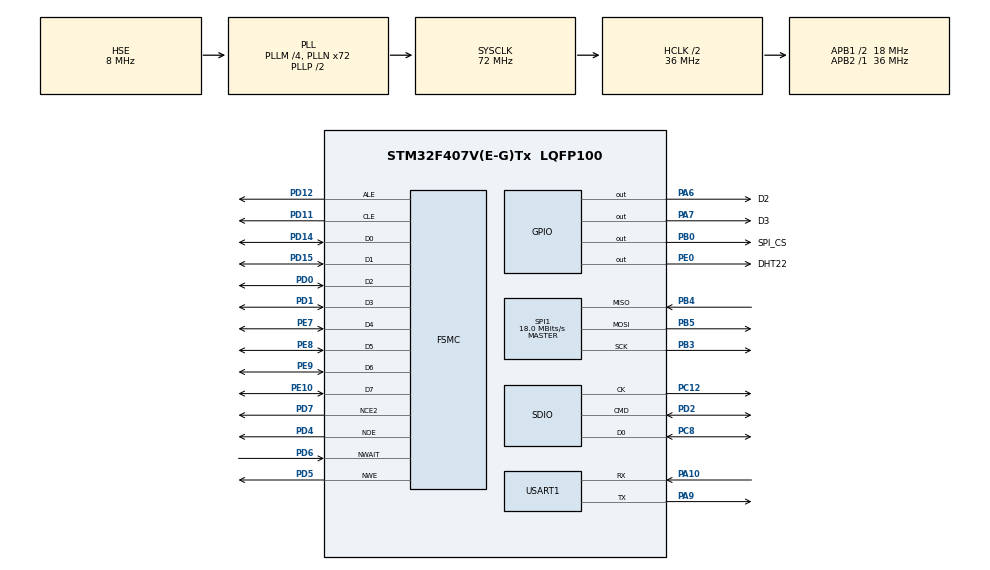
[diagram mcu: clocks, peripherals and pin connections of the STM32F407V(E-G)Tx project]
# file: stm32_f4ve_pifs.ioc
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Dma.Request0=SPI1_RX
Dma.Request1=SPI1_TX
Dma.SPI1_RX.0.Direction=DMA_PERIPH_TO_MEMORY
Dma.SPI1_RX.0.FIFOMode=DMA_FIFOMODE_DISABLE
Dma.SPI1_RX.0.Instance=DMA2_Stream0
Dma.SPI1_RX.0.MemDataAlignment=DMA_MDATAALIGN_BYTE
Dma.SPI1_RX.0.MemInc=DMA_MINC_ENABLE
Dma.SPI1_RX.0.Mode=DMA_NORMAL
Dma.SPI1_RX.0.PeriphDataAlignment=DMA_PDATAALIGN_BYTE
Dma.SPI1_RX.0.PeriphInc=DMA_PINC_DISABLE
Dma.SPI1_RX.0.Priority=DMA_PRIORITY_LOW
Dma.SPI1_TX.1.Direction=DMA_MEMORY_TO_PERIPH
Dma.SPI1_TX.1.FIFOMode=DMA_FIFOMODE_DISABLE
Dma.SPI1_TX.1.Instance=DMA2_Stream3
Dma.SPI1_TX.1.MemDataAlignment=DMA_MDATAALIGN_BYTE
Dma.SPI1_TX.1.MemInc=DMA_MINC_ENABLE
Dma.SPI1_TX.1.Mode=DMA_NORMAL
Dma.SPI1_TX.1.PeriphDataAlignment=DMA_PDATAALIGN_BYTE
Dma.SPI1_TX.1.PeriphInc=DMA_PINC_DISABLE
Dma.SPI1_TX.1.Priority=DMA_PRIORITY_LOW
FATFS._FS_RPATH=2
FATFS._LFN_UNICODE=0
FATFS._STRF_ENCODE=0
FATFS._USE_FIND=1
FATFS._USE_LFN=0
FREERTOS.HEAP_NUMBER=3
FREERTOS.Tasks01=defaultTask,0,512,StartDefaultTask,Default,NULL,Dynamic,NULL,NULL
FREERTOS.configCHECK_FOR_STACK_OVERFLOW=2
FREERTOS.configUSE_MALLOC_FAILED_HOOK=1
FREERTOS.configUSE_STATS_FORMATTING_FUNCTIONS=1
FREERTOS.configUSE_TRACE_FACILITY=1
FSMC.AttributeSpaceHiZSetupTime1=9
FSMC.AttributeSpaceHoldSetupTime1=10
FSMC.AttributeSpaceSetupTime1=9
FSMC.AttributeSpaceWaitSetupTime1=9
FSMC.CommonSpaceHiZSetupTime1=9
FSMC.CommonSpaceHoldSetupTime1=10
FSMC.CommonSpaceSetupTime1=9
FSMC.CommonSpaceWaitSetupTime1=9
FSMC.ECCPageSize1=FSMC_NAND_ECC_PAGE_SIZE_512BYTE
FSMC.NandBlockNbr1=2048
FSMC.NandBlockSize1=32
FSMC.NandExtraCommandEnable1=ENABLE
FSMC.NandPageSize1=512
FSMC.NandPlaneNbr1=1
FSMC.NandPlaneSize1=2048
FSMC.NandSpareAreaSize1=16
FSMC.TARSetupTime1=1
FSMC.TCLRSetupTime1=1
IWDG.Prescaler=IWDG_PRESCALER_32
IWDG.Reload=800
Mcu.Family=STM32F4
Mcu.Name=STM32F407V(E-G)Tx
Mcu.Package=LQFP100
NVIC.DMA2_Stream0_IRQn=true\:5\:0\:false\:false\:true\:true\:true
NVIC.DMA2_Stream3_IRQn=true\:5\:0\:false\:false\:true\:true\:true
NVIC.PriorityGroup=NVIC_PRIORITYGROUP_4
NVIC.TIM2_IRQn=true\:0\:0\:false\:false\:true\:false\:true
NVIC.TimeBase=TIM2_IRQn
NVIC.TimeBaseIP=TIM2
PA10.Mode=Asynchronous
PA10.Signal=USART1_RX
PA11.Signal=USB_OTG_FS_DM
PA12.Signal=USB_OTG_FS_DP
PA13.Mode=Serial_Wire
PA13.Signal=SYS_JTMS-SWDIO
PA14.Mode=Serial_Wire
PA14.Signal=SYS_JTCK-SWCLK
PA6.GPIO_Label=D2
PA6.PinState=GPIO_PIN_SET
PA6.Signal=GPIO_Output
PA7.GPIO_Label=D3
PA7.PinState=GPIO_PIN_SET
PA7.Signal=GPIO_Output
PA9.Mode=Asynchronous
PA9.Signal=USART1_TX
PB0.GPIO_Label=SPI_CS
PB0.Signal=GPIO_Output
PB3.Mode=Full_Duplex_Master
PB3.Signal=SPI1_SCK
PB4.Mode=Full_Duplex_Master
PB4.Signal=SPI1_MISO
PB5.Mode=Full_Duplex_Master
PB5.Signal=SPI1_MOSI
PC10.Signal=SDIO_D2
PC11.Signal=SDIO_D3
PC12.Mode=SD_1_bit
PC12.Signal=SDIO_CK
PC14-OSC32_IN.Mode=LSE-External-Oscillator
PC14-OSC32_IN.Signal=RCC_OSC32_IN
PC15-OSC32_OUT.Mode=LSE-External-Oscillator
PC15-OSC32_OUT.Signal=RCC_OSC32_OUT
PC8.Mode=SD_1_bit
PC8.Signal=SDIO_D0
PC9.Signal=SDIO_D1
PD0.Mode=8b-dmux1
PD0.Signal=FSMC_D2
PD1.Mode=8b-dmux1
PD1.Signal=FSMC_D3
PD11.Mode=8b-dmux1
PD11.Signal=FSMC_CLE
PD12.Mode=8b-dmux1
PD12.Signal=FSMC_ALE
PD14.Mode=8b-dmux1
PD14.Signal=FSMC_D0
PD15.Mode=8b-dmux1
PD15.Signal=FSMC_D1
PD2.Mode=SD_1_bit
PD2.Signal=SDIO_CMD
PD4.Mode=8b-dmux1
PD4.Signal=FSMC_NOE
PD5.Mode=8b-dmux1
PD5.Signal=FSMC_NWE
PD6.GPIO_PuPd=GPIO_PULLUP
PD6.Mode=Wait1
PD6.Signal=FSMC_NWAIT
PD7.Mode=NandChipSelect2_1
PD7.Signal=FSMC_NCE2
PE0.GPIO_Label=DHT22
PE0.GPIO_PuPd=GPIO_PULLUP
PE0.Signal=GPIO_Output
PE10.Mode=8b-dmux1
PE10.Signal=FSMC_D7
PE7.Mode=8b-dmux1
PE7.Signal=FSMC_D4
PE8.Mode=8b-dmux1
PE8.Signal=FSMC_D5
PE9.Mode=8b-dmux1
PE9.Signal=FSMC_D6
PH0-OSC_IN.Mode=HSE-External-Oscillator
PH0-OSC_IN.Signal=RCC_OSC_IN
PH1-OSC_OUT.Mode=HSE-External-Oscillator
PH1-OSC_OUT.Signal=RCC_OSC_OUT
ProjectManager.HeapSize=0x200
ProjectManager.StackSize=0x400
ProjectManager.TargetToolchain=SW4STM32
RCC.48MHZClocksFreq_Value=48000000
RCC.AHBCLKDivider=RCC_SYSCLK_DIV2
RCC.AHBFreq_Value=36000000
RCC.APB1CLKDivider=RCC_HCLK_DIV2
RCC.APB1Freq_Value=18000000
RCC.APB1TimFreq_Value=36000000
RCC.APB2Freq_Value=36000000
RCC.APB2TimFreq_Value=36000000
RCC.CortexFreq_Value=36000000
RCC.HCLKFreq_Value=36000000
RCC.HSE_VALUE=8000000
RCC.HSI_VALUE=16000000
RCC.PLLM=4
RCC.PLLN=72
RCC.PLLQ=3
RCC.PLLSourceVirtual=RCC_PLLSOURCE_HSE
RCC.RCC_RTC_Clock_Source=RCC_RTCCLKSOURCE_LSE
RCC.RCC_RTC_Clock_SourceVirtual=RCC_RTCCLKSOURCE_LSE
RCC.SYSCLKFreq_VALUE=72000000
RCC.SYSCLKSource=RCC_SYSCLKSOURCE_PLLCLK
RCC.VCOOutputFreq_Value=144000000
SDIO.ClockDiv=2
SPI1.BaudRatePrescaler=SPI_BAUDRATEPRESCALER_2
SPI1.CalculateBaudRate=18.0 MBits/s
SPI1.Direction=SPI_DIRECTION_2LINES
SPI1.Mode=SPI_MODE_MASTER
SPI1.VirtualType=VM_MASTER
USART1.VirtualMode=VM_ASYNC
VP_CRC_VS_CRC.Mode=CRC_Activate
VP_FATFS_VS_SDIO.Mode=SDIO
VP_FREERTOS_VS_ENABLE.Mode=Enabled
VP_IWDG_VS_IWDG.Mode=IWDG_Activate
VP_RTC_VS_RTC_Activate.Mode=RTC_Enabled
VP_RTC_VS_RTC_Calendar.Mode=RTC_Calendar
VP_SYS_VS_tim2.Mode=TIM2
board=stm32_f4ve_pifs

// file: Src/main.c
/**
  ******************************************************************************
  * @file           : main.c
  * @brief          : Main program body
  ******************************************************************************
  * This notice applies to any and all portions of this file
  * that are not between comment pairs USER CODE BEGIN and
  * USER CODE END. Other portions of this file, whether
  * inserted by the user or by software development tools
  * are owned by their respective copyright owners.
  *
  * Copyright (c) 2018 STMicroelectronics International N.V.
  * All rights reserved.
  *
  * Redistribution and use in source and binary forms, with or without
  * modification, are permitted, provided that the following conditions are met:
  *
  * 1. Redistribution of source code must retain the above copyright notice,
  *    this list of conditions and the following disclaimer.
  * 2. Redistributions in binary form must reproduce the above copyright notice,
  *    this list of conditions and the following disclaimer in the documentation
  *    and/or other materials provided with the distribution.
  * 3. Neither the name of STMicroelectronics nor the names of other
  *    contributors to this software may be used to endorse or promote products
  *    derived from this software without specific written permission.
  * 4. This software, including modifications and/or derivative works of this
  *    software, must execute solely and exclusively on microcontroller or
  *    microprocessor devices manufactured by or for STMicroelectronics.
  * 5. Redistribution and use of this software other than as permitted under
  *    this license is void and will automatically terminate your rights under
  *    this license.
  *
  * THIS SOFTWARE IS PROVIDED BY STMICROELECTRONICS AND CONTRIBUTORS "AS IS"
  * AND ANY EXPRESS, IMPLIED OR STATUTORY WARRANTIES, INCLUDING, BUT NOT
  * LIMITED TO, THE IMPLIED WARRANTIES OF MERCHANTABILITY, FITNESS FOR A
  * PARTICULAR PURPOSE AND NON-INFRINGEMENT OF THIRD PARTY INTELLECTUAL PROPERTY
  * RIGHTS ARE DISCLAIMED TO THE FULLEST EXTENT PERMITTED BY LAW. IN NO EVENT
  * SHALL STMICROELECTRONICS OR CONTRIBUTORS BE LIABLE FOR ANY DIRECT, INDIRECT,
  * INCIDENTAL, SPECIAL, EXEMPLARY, OR CONSEQUENTIAL DAMAGES (INCLUDING, BUT NOT
  * LIMITED TO, PROCUREMENT OF SUBSTITUTE GOODS OR SERVICES; LOSS OF USE, DATA,
  * OR PROFITS; OR BUSINESS INTERRUPTION) HOWEVER CAUSED AND ON ANY THEORY OF
  * LIABILITY, WHETHER IN CONTRACT, STRICT LIABILITY, OR TORT (INCLUDING
  * NEGLIGENCE OR OTHERWISE) ARISING IN ANY WAY OUT OF THE USE OF THIS SOFTWARE,
  * EVEN IF ADVISED OF THE POSSIBILITY OF SUCH DAMAGE.
  *
  ******************************************************************************
  */
#include "main.h"
#include "stm32f4xx_hal.h"
#include "cmsis_os.h"
#include "fatfs.h"

/* USER CODE BEGIN Includes */
#include <stdio.h>
#include <string.h>
#include <stdarg.h>
#include <math.h>
#include "common.h"
#include "uart.h"
#include "term.h"
#include "dht.h"
#include "buffer.h"

#define DISABLE_WATCHDOG_MAGIC  0xDEADBEEF
#define ENABLE_TERMINAL         1
#define ENABLE_FLASH_TEST       0
#define ENABLE_PIFS_TEST        0
#define ENABLE_ERASE_ALL        0
/* USER CODE END Includes */

CRC_HandleTypeDef hcrc;

IWDG_HandleTypeDef hiwdg;

RTC_HandleTypeDef hrtc;

SD_HandleTypeDef hsd;

SPI_HandleTypeDef hspi1;
DMA_HandleTypeDef hdma_spi1_rx;
DMA_HandleTypeDef hdma_spi1_tx;

UART_HandleTypeDef huart1;

NAND_HandleTypeDef hnand1;

osThreadId defaultTaskHandle;

/* USER CODE BEGIN PV */
/* Private variables ---------------------------------------------------------*/

osThreadId watchdogTaskHandle;
osThreadId measureTaskHandle;
osMutexDef(printf_mutex);
osMutexId printf_mutex = NULL;
osMutexDef(stdin_mutex);
osMutexId stdin_mutex = NULL;
uint32_t disableWatchdog = 0;
FATFS sd_fat_fs;
char disk_path[4];
DIR dir;
FILINFO filinfo;

extern void defaultTask(void const * argument);
/* USER CODE END PV */

void SystemClock_Config(void);
static void MX_GPIO_Init(void);
static void MX_DMA_Init(void);
static void MX_SPI1_Init(void);
static void MX_USART1_UART_Init(void);
static void MX_IWDG_Init(void);
static void MX_SDIO_SD_Init(void);
static void MX_RTC_Init(void);
static void MX_FSMC_Init(void);
static void MX_CRC_Init(void);
void StartDefaultTask(void const * argument);

/* USER CODE BEGIN PFP */
/* Private function prototypes -----------------------------------------------*/

void watchdogTask(void const * arg);
void measureTask(void const * arg);
/* USER CODE END PFP */

/* USER CODE BEGIN 0 */
static inline void LED_on(int number)
{
    if (number == 2)
    {
        HAL_GPIO_WritePin(D2_GPIO_Port, D2_Pin, GPIO_PIN_RESET);
    }
    else if (number == 3)
    {
        HAL_GPIO_WritePin(D3_GPIO_Port, D3_Pin, GPIO_PIN_RESET);
    }
}

static inline void LED_off(int number)
{
    if (number == 2)
    {
        HAL_GPIO_WritePin(D2_GPIO_Port, D2_Pin, GPIO_PIN_SET);
    }
    else if (number == 3)
    {
        HAL_GPIO_WritePin(D3_GPIO_Port, D3_Pin, GPIO_PIN_SET);
    }
}

static inline void LED_toggle(int number)
{
    if (number == 2)
    {
        HAL_GPIO_TogglePin(D2_GPIO_Port, D2_Pin);
    }
    else if (number == 3)
    {
        HAL_GPIO_TogglePin(D3_GPIO_Port, D3_Pin);
    }
}

uint8_t nand_buf[512];
uint8_t nand_buf2[512];

/**
 * @brief ftest Testing NAND flash wired to TFT connector.
 */
void ftest(void)
{
    uint32_t blk_idx = 0;
    uint32_t page_idx = 0;
    pifs_status_t pifs_status = PIFS_SUCCESS;
    NAND_IDTypeDef nand_id;
    HAL_StatusTypeDef stat = HAL_OK;
    NAND_AddressTypeDef address;
    uint32_t page_per_block_num;
    uint32_t block_num;

#if 1
    printf("Reading NAND ID... ");
    stat = HAL_NAND_Read_ID(&hnand1, &nand_id);
    if (stat == HAL_OK)
    {
        printf("Ok.\r\n");
        printf("NAND ID: %02X %02X %02X %02X\r\n",
               nand_id.Maker_Id,
               nand_id.Device_Id,
               nand_id.Third_Id,
               nand_id.Fourth_Id);
    }
    else
    {
        printf("Error: %i\r\n", stat);
    }
#endif
//    page_per_block_num = 32; //hnand1.Config.BlockSize / hnand1.Config.PageSize;
    page_per_block_num = 16; //hnand1.Config.BlockSize / hnand1.Config.PageSize;
    block_num = 128;
    printf("Pages/block: %i\r\n", page_per_block_num);
    for (blk_idx = 0; blk_idx < block_num && pifs_status == PIFS_SUCCESS && stat == HAL_OK; blk_idx++)
    {
        address.Plane = 0;
        address.Block = blk_idx;
        printf("Erase block %i...", address.Block);
        stat = HAL_NAND_Erase_Block(&hnand1, &address);
        if (stat == HAL_OK)
        {
            printf("Ok.\r\n");
        }
        else
        {
            printf("Error: %i\r\n", stat);
        }

        for (page_idx = 0; page_idx < page_per_block_num  && pifs_status == PIFS_SUCCESS && stat == HAL_OK; page_idx++)
        {
            address.Page = page_idx;

            fill_buffer(nand_buf, sizeof(nand_buf), FILL_TYPE_SEQUENCE_WORD, (blk_idx << 6) | page_idx);

            printf("Writing %i pages at BA%i/PA%i/PL%i...",
                   sizeof(nand_buf) / hnand1.Config.PageSize,
                   address.Block, address.Page, address.Plane);
            stat = HAL_NAND_Write_Page_8b(&hnand1, &address, &nand_buf, sizeof(nand_buf) / hnand1.Config.PageSize);
            if (stat == HAL_OK)
            {
                printf("Ok.\r\n");
                //print_buffer(nand_buf, sizeof(nand_buf), 0);
            }
            else
            {
                printf("Error: %i\r\n", stat);
            }

            memset(nand_buf2, 0, sizeof(nand_buf2));

            printf("Reading %i pages at BA%i/PA%i/PL%i...",
                   sizeof(nand_buf) / hnand1.Config.PageSize,
                   address.Block, address.Page, address.Plane);
            stat = HAL_NAND_Read_Page_8b(&hnand1, &address, &nand_buf2, sizeof(nand_buf2) / hnand1.Config.PageSize);
            if (stat == HAL_OK)
            {
                printf("Ok.\r\n");
//                print_buffer(nand_buf2, sizeof(nand_buf2), 0);
            }
            else
            {
                printf("Error: %i\r\n", stat);
            }

            pifs_status = compare_buffer(nand_buf, sizeof(nand_buf), nand_buf2);
#if 0
            if (pifs_status != PIFS_SUCCESS)
            {
                printf("WRITTEN\r\n");
                print_buffer(nand_buf, sizeof(nand_buf), 0);
                printf("READ\r\n");
                print_buffer(nand_buf2, sizeof(nand_buf2), 0);
            }
#endif
        }
    }
}

#if 0
void HAL_NAND_MspInit(NAND_HandleTypeDef *hnand)
{
    GPIO_InitTypeDef GPIO_InitStruct;

    /* Peripheral clock enable */
    __HAL_RCC_FSMC_CLK_ENABLE();

    /* FSMC GPIO Configuration
      PE7   ------> FSMC_D4
      PE8   ------> FSMC_D5
      PE9   ------> FSMC_D6
      PE10  ------> FSMC_D7
      PD0   ------> FSMC_D2
      PD1   ------> FSMC_D3
      PD4   ------> FSMC_NOE
      PD5   ------> FSMC_NWE
      PD6   ------> FSMC_NWAIT
      PD7   ------> FSMC_NCE2
      PD11  ------> FSMC_CLE
      PD12  ------> FSMC_ALE
      PD14  ------> FSMC_D0
      PD15  ------> FSMC_D1
      */
    GPIO_InitStruct.Pin = GPIO_PIN_0
            | GPIO_PIN_1
            | GPIO_PIN_4
            | GPIO_PIN_5
            | GPIO_PIN_7
            | GPIO_PIN_11
            | GPIO_PIN_12
            | GPIO_PIN_14
            | GPIO_PIN_15;
    GPIO_InitStruct.Mode = GPIO_MODE_AF_PP;
    GPIO_InitStruct.Pull = GPIO_NOPULL;
    GPIO_InitStruct.Speed = GPIO_SPEED_FREQ_VERY_HIGH;
    GPIO_InitStruct.Alternate = GPIO_AF12_FSMC;
    HAL_GPIO_Init(GPIOD, &GPIO_InitStruct);

    GPIO_InitStruct.Pin = GPIO_PIN_7
            | GPIO_PIN_8
            | GPIO_PIN_9
            | GPIO_PIN_10;
    HAL_GPIO_Init(GPIOE, &GPIO_InitStruct);

    GPIO_InitStruct.Pin = GPIO_PIN_6;
    GPIO_InitStruct.Pull = GPIO_PULLUP;
    HAL_GPIO_Init(GPIOD, &GPIO_InitStruct);
}
#endif
/* USER CODE END 0 */

int main(void)
{

  /* MCU Configuration----------------------------------------------------------*/

  /* Reset of all peripherals, Initializes the Flash interface and the Systick. */
  HAL_Init();

  /* Configure the system clock */
  SystemClock_Config();

  /* USER CODE BEGIN SysInit */

  /* Enable division by zero fault */
  SCB->CCR |= 0x10;
  /* USER CODE END SysInit */

  /* Initialize all configured peripherals */
  MX_GPIO_Init();
  MX_DMA_Init();
  MX_SPI1_Init();
  MX_USART1_UART_Init();
  MX_IWDG_Init();
  MX_SDIO_SD_Init();
  MX_RTC_Init();
  MX_FSMC_Init();
  MX_CRC_Init();
  /* USER CODE BEGIN 2 */
  UART_printf_("\r\n\r\nBoard initialized\r\n");
#if DEBUG == 1
  UART_printf_("DEBUG\r\n");
#else
  UART_printf_("RELEASE\r\n");
#endif
  UART_printf_("Compiled on " __DATE__ " " __TIME__ "\r\n");

  if (__HAL_RCC_GET_FLAG(RCC_FLAG_BORRST))
  {
      UART_printf_("POR/PDR or BOR reset.\r\n");
  }
  if (__HAL_RCC_GET_FLAG(RCC_FLAG_PINRST))
  {
      UART_printf_("Pin reset.\r\n");
  }
  if (__HAL_RCC_GET_FLAG(RCC_FLAG_PORRST))
  {
      UART_printf_("POR/PDR reset.\r\n");
  }
  if (__HAL_RCC_GET_FLAG(RCC_FLAG_SFTRST))
  {
      UART_printf_("Software reset.\r\n");
  }
  if (__HAL_RCC_GET_FLAG(RCC_FLAG_IWDGRST))
  {
      UART_printf_("Independent Watchdog reset.\r\n");
  }
  if (__HAL_RCC_GET_FLAG(RCC_FLAG_WWDGRST))
  {
      UART_printf_("Window Watchdog reset.\r\n");
  }
  if (__HAL_RCC_GET_FLAG(RCC_FLAG_LPWRRST))
  {
      UART_printf_("Low Power reset.\r\n");
  }
  __HAL_RCC_CLEAR_RESET_FLAGS();
#if ENABLE_WATCHDOG
  UART_printf_("Watchdog started\r\n");
  HAL_IWDG_Refresh(&hiwdg);
#else
  UART_printf_("Watchdog disabled\r\n");
#endif
  setbuf(stdout, NULL);
  printf("+++ printf test! +++\r\n");

  printf("Initialize DHT22 sensor... ");
  if (DHT_init())
  {
      printf("Done.\r\n");
  }
  else
  {
      printf("Error!\r\n");
  }

  HAL_StatusTypeDef stat;
  printf("Reset NAND memory... ");
  stat = HAL_NAND_Reset(&hnand1);
  if (stat == HAL_OK)
  {
      printf("Ok.\r\n");
  }
  else
  {
      printf("Error: %i\r\n", stat);
  }

//  ftest();
  /* USER CODE END 2 */

  /* USER CODE BEGIN RTOS_MUTEX */
  printf_mutex = osMutexCreate(osMutex(printf_mutex));
  stdin_mutex = osMutexCreate(osMutex(stdin_mutex));
  /* USER CODE END RTOS_MUTEX */

  /* Create the thread(s) */
  /* definition and creation of defaultTask */
  osThreadDef(defaultTask, StartDefaultTask, osPriorityNormal, 0, 512);
  defaultTaskHandle = osThreadCreate(osThread(defaultTask), NULL);

  /* USER CODE BEGIN RTOS_THREADS */
  osThreadDef(watchdogTask, watchdogTask, osPriorityRealtime, 0, 64);
  watchdogTaskHandle = osThreadCreate(osThread(watchdogTask), NULL);
  osThreadDef(measureTask, measureTask, osPriorityAboveNormal, 0, 512);
  measureTaskHandle = osThreadCreate(osThread(measureTask), NULL);
  /* USER CODE END RTOS_THREADS */

  /* Start scheduler */
  osKernelStart();

  /* We should never get here as control is now taken by the scheduler */

  /* Infinite loop */
  while (1)
  {

  }

}

void SystemClock_Config(void)
{

  RCC_OscInitTypeDef RCC_OscInitStruct;
  RCC_ClkInitTypeDef RCC_ClkInitStruct;
  RCC_PeriphCLKInitTypeDef PeriphClkInitStruct;

    /**Configure the main internal regulator output voltage
    */
  __HAL_RCC_PWR_CLK_ENABLE();

  __HAL_PWR_VOLTAGESCALING_CONFIG(PWR_REGULATOR_VOLTAGE_SCALE1);

    /**Initializes the CPU, AHB and APB busses clocks
    */
  RCC_OscInitStruct.OscillatorType = RCC_OSCILLATORTYPE_LSI|RCC_OSCILLATORTYPE_HSE
                              |RCC_OSCILLATORTYPE_LSE;
  RCC_OscInitStruct.HSEState = RCC_HSE_ON;
  RCC_OscInitStruct.LSEState = RCC_LSE_ON;
  RCC_OscInitStruct.LSIState = RCC_LSI_ON;
  RCC_OscInitStruct.PLL.PLLState = RCC_PLL_ON;
  RCC_OscInitStruct.PLL.PLLSource = RCC_PLLSOURCE_HSE;
  RCC_OscInitStruct.PLL.PLLM = 4;
  RCC_OscInitStruct.PLL.PLLN = 72;
  RCC_OscInitStruct.PLL.PLLP = RCC_PLLP_DIV2;
  RCC_OscInitStruct.PLL.PLLQ = 3;
  if (HAL_RCC_OscConfig(&RCC_OscInitStruct) != HAL_OK)
  {
    _Error_Handler(__FILE__, __LINE__);
  }

    /**Initializes the CPU, AHB and APB busses clocks
    */
  RCC_ClkInitStruct.ClockType = RCC_CLOCKTYPE_HCLK|RCC_CLOCKTYPE_SYSCLK
                              |RCC_CLOCKTYPE_PCLK1|RCC_CLOCKTYPE_PCLK2;
  RCC_ClkInitStruct.SYSCLKSource = RCC_SYSCLKSOURCE_PLLCLK;
  RCC_ClkInitStruct.AHBCLKDivider = RCC_SYSCLK_DIV2;
  RCC_ClkInitStruct.APB1CLKDivider = RCC_HCLK_DIV2;
  RCC_ClkInitStruct.APB2CLKDivider = RCC_HCLK_DIV1;

  if (HAL_RCC_ClockConfig(&RCC_ClkInitStruct, FLASH_LATENCY_1) != HAL_OK)
  {
    _Error_Handler(__FILE__, __LINE__);
  }

  PeriphClkInitStruct.PeriphClockSelection = RCC_PERIPHCLK_RTC;
  PeriphClkInitStruct.RTCClockSelection = RCC_RTCCLKSOURCE_LSE;
  if (HAL_RCCEx_PeriphCLKConfig(&PeriphClkInitStruct) != HAL_OK)
  {
    _Error_Handler(__FILE__, __LINE__);
  }

    /**Configure the Systick interrupt time
    */
  HAL_SYSTICK_Config(HAL_RCC_GetHCLKFreq()/1000);

    /**Configure the Systick
    */
  HAL_SYSTICK_CLKSourceConfig(SYSTICK_CLKSOURCE_HCLK);

  /* SysTick_IRQn interrupt configuration */
  HAL_NVIC_SetPriority(SysTick_IRQn, 15, 0);
}

/* CRC init function */
static void MX_CRC_Init(void)
{

  hcrc.Instance = CRC;
  if (HAL_CRC_Init(&hcrc) != HAL_OK)
  {
    _Error_Handler(__FILE__, __LINE__);
  }

}

/* IWDG init function */
static void MX_IWDG_Init(void)
{

  hiwdg.Instance = IWDG;
  hiwdg.Init.Prescaler = IWDG_PRESCALER_32;
  hiwdg.Init.Reload = 800;
  if (HAL_IWDG_Init(&hiwdg) != HAL_OK)
  {
    _Error_Handler(__FILE__, __LINE__);
  }

}

/* RTC init function */
static void MX_RTC_Init(void)
{

  RTC_TimeTypeDef sTime;
  RTC_DateTypeDef sDate;

    /**Initialize RTC Only
    */
  hrtc.Instance = RTC;
  hrtc.Init.HourFormat = RTC_HOURFORMAT_24;
  hrtc.Init.AsynchPrediv = 127;
  hrtc.Init.SynchPrediv = 255;
  hrtc.Init.OutPut = RTC_OUTPUT_DISABLE;
  hrtc.Init.OutPutPolarity = RTC_OUTPUT_POLARITY_HIGH;
  hrtc.Init.OutPutType = RTC_OUTPUT_TYPE_OPENDRAIN;
  if (HAL_RTC_Init(&hrtc) != HAL_OK)
  {
    _Error_Handler(__FILE__, __LINE__);
  }
  /* USER CODE BEGIN RTC_Init 2 */
  if(HAL_RTCEx_BKUPRead(&hrtc, RTC_BKP_DR0) != 0x32F2){
  /* USER CODE END RTC_Init 2 */

    /**Initialize RTC and set the Time and Date
    */
  sTime.Hours = 0x0;
  sTime.Minutes = 0x0;
  sTime.Seconds = 0x0;
  sTime.DayLightSaving = RTC_DAYLIGHTSAVING_NONE;
  sTime.StoreOperation = RTC_STOREOPERATION_RESET;
  if (HAL_RTC_SetTime(&hrtc, &sTime, RTC_FORMAT_BCD) != HAL_OK)
  {
    _Error_Handler(__FILE__, __LINE__);
  }

  sDate.WeekDay = RTC_WEEKDAY_MONDAY;
  sDate.Month = RTC_MONTH_JANUARY;
  sDate.Date = 0x1;
  sDate.Year = 0x0;

  if (HAL_RTC_SetDate(&hrtc, &sDate, RTC_FORMAT_BCD) != HAL_OK)
  {
    _Error_Handler(__FILE__, __LINE__);
  }
  /* USER CODE BEGIN RTC_Init 4 */
  HAL_RTCEx_BKUPWrite(&hrtc,RTC_BKP_DR0,0x32F2);
  }
  /* USER CODE END RTC_Init 4 */

}

/* SDIO init function */
static void MX_SDIO_SD_Init(void)
{

  hsd.Instance = SDIO;
  hsd.Init.ClockEdge = SDIO_CLOCK_EDGE_RISING;
  hsd.Init.ClockBypass = SDIO_CLOCK_BYPASS_DISABLE;
  hsd.Init.ClockPowerSave = SDIO_CLOCK_POWER_SAVE_DISABLE;
  hsd.Init.BusWide = SDIO_BUS_WIDE_1B;
  hsd.Init.HardwareFlowControl = SDIO_HARDWARE_FLOW_CONTROL_DISABLE;
  hsd.Init.ClockDiv = 2;

}

/* SPI1 init function */
static void MX_SPI1_Init(void)
{

  /* SPI1 parameter configuration*/
  hspi1.Instance = SPI1;
  hspi1.Init.Mode = SPI_MODE_MASTER;
  hspi1.Init.Direction = SPI_DIRECTION_2LINES;
  hspi1.Init.DataSize = SPI_DATASIZE_8BIT;
  hspi1.Init.CLKPolarity = SPI_POLARITY_LOW;
  hspi1.Init.CLKPhase = SPI_PHASE_1EDGE;
  hspi1.Init.NSS = SPI_NSS_SOFT;
  hspi1.Init.BaudRatePrescaler = SPI_BAUDRATEPRESCALER_2;
  hspi1.Init.FirstBit = SPI_FIRSTBIT_MSB;
  hspi1.Init.TIMode = SPI_TIMODE_DISABLE;
  hspi1.Init.CRCCalculation = SPI_CRCCALCULATION_DISABLE;
  hspi1.Init.CRCPolynomial = 10;
  if (HAL_SPI_Init(&hspi1) != HAL_OK)
  {
    _Error_Handler(__FILE__, __LINE__);
  }

}

/* USART1 init function */
static void MX_USART1_UART_Init(void)
{

  huart1.Instance = USART1;
  huart1.Init.BaudRate = 115200;
  huart1.Init.WordLength = UART_WORDLENGTH_8B;
  huart1.Init.StopBits = UART_STOPBITS_1;
  huart1.Init.Parity = UART_PARITY_NONE;
  huart1.Init.Mode = UART_MODE_TX_RX;
  huart1.Init.HwFlowCtl = UART_HWCONTROL_NONE;
  huart1.Init.OverSampling = UART_OVERSAMPLING_16;
  if (HAL_UART_Init(&huart1) != HAL_OK)
  {
    _Error_Handler(__FILE__, __LINE__);
  }

}

static void MX_DMA_Init(void)
{
  /* DMA controller clock enable */
  __HAL_RCC_DMA2_CLK_ENABLE();

  /* DMA interrupt init */
  /* DMA2_Stream0_IRQn interrupt configuration */
  HAL_NVIC_SetPriority(DMA2_Stream0_IRQn, 5, 0);
  HAL_NVIC_EnableIRQ(DMA2_Stream0_IRQn);
  /* DMA2_Stream3_IRQn interrupt configuration */
  HAL_NVIC_SetPriority(DMA2_Stream3_IRQn, 5, 0);
  HAL_NVIC_EnableIRQ(DMA2_Stream3_IRQn);

}

/** Configure pins as
        * Analog
        * Input
        * Output
        * EVENT_OUT
        * EXTI
     PA11   ------> USB_OTG_FS_DM
     PA12   ------> USB_OTG_FS_DP
*/
static void MX_GPIO_Init(void)
{

  GPIO_InitTypeDef GPIO_InitStruct;

  /* GPIO Ports Clock Enable */
  __HAL_RCC_GPIOC_CLK_ENABLE();
  __HAL_RCC_GPIOH_CLK_ENABLE();
  __HAL_RCC_GPIOA_CLK_ENABLE();
  __HAL_RCC_GPIOB_CLK_ENABLE();
  __HAL_RCC_GPIOE_CLK_ENABLE();
  __HAL_RCC_GPIOD_CLK_ENABLE();

  /*Configure GPIO pin Output Level */
  HAL_GPIO_WritePin(GPIOA, D2_Pin|D3_Pin, GPIO_PIN_SET);

  /*Configure GPIO pin Output Level */
  HAL_GPIO_WritePin(SPI_CS_GPIO_Port, SPI_CS_Pin, GPIO_PIN_RESET);

  /*Configure GPIO pin Output Level */
  HAL_GPIO_WritePin(DHT22_GPIO_Port, DHT22_Pin, GPIO_PIN_RESET);

  /*Configure GPIO pins : D2_Pin D3_Pin */
  GPIO_InitStruct.Pin = D2_Pin|D3_Pin;
  GPIO_InitStruct.Mode = GPIO_MODE_OUTPUT_PP;
  GPIO_InitStruct.Pull = GPIO_NOPULL;
  GPIO_InitStruct.Speed = GPIO_SPEED_FREQ_LOW;
  HAL_GPIO_Init(GPIOA, &GPIO_InitStruct);

  /*Configure GPIO pin : SPI_CS_Pin */
  GPIO_InitStruct.Pin = SPI_CS_Pin;
  GPIO_InitStruct.Mode = GPIO_MODE_OUTPUT_PP;
  GPIO_InitStruct.Pull = GPIO_NOPULL;
  GPIO_InitStruct.Speed = GPIO_SPEED_FREQ_LOW;
  HAL_GPIO_Init(SPI_CS_GPIO_Port, &GPIO_InitStruct);

  /*Configure GPIO pins : PA11 PA12 */
  GPIO_InitStruct.Pin = GPIO_PIN_11|GPIO_PIN_12;
  GPIO_InitStruct.Mode = GPIO_MODE_AF_PP;
  GPIO_InitStruct.Pull = GPIO_NOPULL;
  GPIO_InitStruct.Speed = GPIO_SPEED_FREQ_VERY_HIGH;
  GPIO_InitStruct.Alternate = GPIO_AF10_OTG_FS;
  HAL_GPIO_Init(GPIOA, &GPIO_InitStruct);

  /*Configure GPIO pin : DHT22_Pin */
  GPIO_InitStruct.Pin = DHT22_Pin;
  GPIO_InitStruct.Mode = GPIO_MODE_OUTPUT_PP;
  GPIO_InitStruct.Pull = GPIO_PULLUP;
  GPIO_InitStruct.Speed = GPIO_SPEED_FREQ_LOW;
  HAL_GPIO_Init(DHT22_GPIO_Port, &GPIO_InitStruct);

}

/* FSMC initialization function */
static void MX_FSMC_Init(void)
{
  FSMC_NAND_PCC_TimingTypeDef ComSpaceTiming;
  FSMC_NAND_PCC_TimingTypeDef AttSpaceTiming;

  /** Perform the NAND1 memory initialization sequence
  */
  hnand1.Instance = FSMC_NAND_DEVICE;
  /* hnand1.Init */
  hnand1.Init.NandBank = FSMC_NAND_BANK2;
  hnand1.Init.Waitfeature = FSMC_NAND_PCC_WAIT_FEATURE_ENABLE;
  hnand1.Init.MemoryDataWidth = FSMC_NAND_PCC_MEM_BUS_WIDTH_8;
  hnand1.Init.EccComputation = FSMC_NAND_ECC_DISABLE;
  hnand1.Init.ECCPageSize = FSMC_NAND_ECC_PAGE_SIZE_512BYTE;
  hnand1.Init.TCLRSetupTime = 1;
  hnand1.Init.TARSetupTime = 1;
  /* hnand1.Config */
  hnand1.Config.PageSize = 512;
  hnand1.Config.SpareAreaSize = 16;
  hnand1.Config.BlockSize = 32;
  hnand1.Config.BlockNbr = 2048;
  hnand1.Config.PlaneNbr = 1;
  hnand1.Config.PlaneSize = 2048;
  hnand1.Config.ExtraCommandEnable = ENABLE;
  /* ComSpaceTiming */
  ComSpaceTiming.SetupTime = 9;
  ComSpaceTiming.WaitSetupTime = 9;
  ComSpaceTiming.HoldSetupTime = 10;
  ComSpaceTiming.HiZSetupTime = 9;
  /* AttSpaceTiming */
  AttSpaceTiming.SetupTime = 9;
  AttSpaceTiming.WaitSetupTime = 9;
  AttSpaceTiming.HoldSetupTime = 10;
  AttSpaceTiming.HiZSetupTime = 9;

  if (HAL_NAND_Init(&hnand1, &ComSpaceTiming, &AttSpaceTiming) != HAL_OK)
  {
    _Error_Handler(__FILE__, __LINE__);
  }

}

/* USER CODE BEGIN 4 */
/**
 * @brief watchdogTask LED blinking and watchdog reloading task.
 * @param arg
 */
void watchdogTask(void const * arg)
{
	(void) arg;

	for ( ; ; )
	{
#if ENABLE_WATCHDOG
        /*
         * Watchdog's timeout is 800 ms
         * Oscillator clock (LSI) = 32 kHz
         * Prescaler = /32
         * Down counter reload value = 800
         * Timeout = 1 / ( 40000 / 32 ) * 800 = 0.8 seconds
         */
        if (disableWatchdog != DISABLE_WATCHDOG_MAGIC)
        {
            /* Feed the watchdog */
            HAL_IWDG_Refresh(&hiwdg);
        }
#endif
        LED_toggle(2);
        osDelay(500);
    }
}

#define MEAS_SIZE   42

void save_measurement(void)
{
    typedef struct __attribute__((packed))
    {
        uint8_t  hour : 5;
        uint8_t  min : 6;
        uint8_t  sec : 5;
        int16_t  hum;
        int16_t  temp;
        //float    hum;
        //float    temp;
    } meas_t;
    static meas_t     meas[MEAS_SIZE];
    static uint8_t    meas_idx = 0;
    float             hum;
    float             temp;
    P_FILE          * file;
    size_t            written_bytes;
    HAL_StatusTypeDef stat;
    RTC_DateTypeDef   date;
    RTC_TimeTypeDef   time;
    char              filename[PIFS_FILENAME_LEN_MAX + 1];

    /* First time shall be read */
    stat = HAL_RTC_GetTime(&hrtc, &time, RTC_FORMAT_BIN);
    if (stat == HAL_OK)
    {
        /* After date shall be read */
        stat = HAL_RTC_GetDate(&hrtc, &date, RTC_FORMAT_BIN);
        if (stat == HAL_OK)
        {
            UART_printf("%02i-%02i-%02i %02i:%02i:%02i  ",
                        date.Year, date.Month, date.Date,
                        time.Hours, time.Minutes, time.Seconds);
            hum = DHT_getHumPercent();
            temp = DHT_getTempCelsius();
            UART_printf("Humidity: %i.%i%%  ", (int)hum, (int)fabsf ((hum - (int)hum) * 10.0f));
            UART_printf("T: %i.%i C  ", (int)temp, (int)fabsf ((temp - (int)temp) * 10.0f));
            snprintf(filename, sizeof(filename), "%02i%02i%02i.dat", date.Year, date.Month, date.Date);
            UART_printf("%i/%i\r\n", meas_idx + 1, MEAS_SIZE);

            meas[meas_idx].hour = time.Hours;
            meas[meas_idx].min = time.Minutes;
            meas[meas_idx].sec = time.Seconds >> 1;
            //meas[meas_idx].hum = hum;
            //meas[meas_idx].temp = temp;
            meas[meas_idx].hum = (int16_t)(hum * 10.0f);
            meas[meas_idx].temp = (int16_t)(temp * 10.0f);
            meas_idx++;
            if (meas_idx == MEAS_SIZE)
            {
                meas_idx = 0;
                file = pifs_fopen(filename, "a");
                if (file)
                {
                    written_bytes = pifs_fwrite(&meas, 1, sizeof(meas), file);
                    if (written_bytes == sizeof(meas))
                    {
                        UART_printf("Data saved!\r\n");
                    }
                    else
                    {
                        UART_printf("ERROR: Cannot save data. Code: %i\r\n", pifs_errno);
                    }
                    pifs_fclose(file);
                }
                else
                {
                    UART_printf("ERROR: Cannot open file!\r\n");
                }
            }
        }
    }
}

/**
 * @brief measureTask DHT22 measurement task
 * @param arg
 */
void measureTask(void const * arg)
{
    bool_t   measure_ok = FALSE;
    uint8_t  cntr = 0;
    float    hum = 0;

    (void) arg;

    UART_printf("Measurement task started\r\n");

    /* Drop first measurement */
    DHT_read();

    for ( ; ; )
    {
        osDelay(10000); /* Measure in every 10 second */
        //osDelay(60000); /* Measure in every minute */
        measure_ok = FALSE;
        LED_on(3);

        do
        {
            measure_ok = DHT_read();
            if (measure_ok)
            {
                hum = DHT_getHumPercent();
            }
            else
            {
                osDelay(10);
            }
            cntr++;
        } while (cntr < 5 && (!measure_ok || hum > 100.0f));

        if (measure_ok && hum <= 100.0f)
        {
            save_measurement();
        }
        LED_off(3);
    }
}

void vApplicationStackOverflowHook(TaskHandle_t xTask, char *pcTaskName)
{
    (void) xTask;

    _print("\r\nStack overflow in task ");
    _print(pcTaskName);
    _print("\r\n");
    while(1)
    {
    }
}
/* USER CODE END 4 */

void StartDefaultTask(void const * argument)
{
  /* init code for FATFS */
  MX_FATFS_Init();

  /* USER CODE BEGIN 5 */
  (void) argument;
#if ENABLE_TERMINAL
    pifs_status_t ret;
    FRESULT       fres;

    ret = pifs_init();
    if (ret != PIFS_SUCCESS)
    {
        printf("ERROR: Cannot initialize file system: %i\r\n", ret);
    }

    printf("Mounting SD card... ");
    fres = f_mount(&sd_fat_fs, (TCHAR const*)disk_path, 1);
    if (fres == FR_OK)
    {
        printf("Done.\r\n");
        printf("Listing root directory:\r\n");
        fres = f_findfirst(&dir, &filinfo, "", "*");
        while (fres == FR_OK && filinfo.fname[0])
        {
            printf("%-32s %8i\r\n", filinfo.fname, filinfo.fsize);
            fres = f_findnext(&dir, &filinfo);
        }
        printf("Closing directory... ");
        fres = f_closedir(&dir);
        if (fres == FR_OK)
        {
            printf("Done.\r\n");
        }
        else
        {
            printf("ERROR: Cannot close directory: %i\r\n", fres);
        }
        printf("Un-mounting SD card... ");
        fres = f_mount(NULL, (TCHAR const*)disk_path, 0);
        if (fres == FR_OK)
        {
            printf("Done.\r\n");
        }
        else
        {
            printf("ERROR: Cannot unmount SD card: %i\r\n", fres);
        }
    }
    else
    {
        printf("ERROR: Cannot mount SD card: %i\r\n", fres);
    }

    term_init();
    while (1)
    {
        term_task();
    }
#elif ENABLE_FLASH_TEST
    pifs_flash_init();
    flash_test();
    pifs_flash_delete();
#elif ENABLE_PIFS_TEST
#if ENABLE_ERASE_ALL
    pifs_flash_init();
	UART_printf("Erasing all blocks... ");
	if (flash_erase_all() == 0)
	{
	    UART_printf("Done.\r\n");
	}
	else
	{
	    UART_printf("ERROR!\r\n");
	}
	pifs_flash_delete();
#endif
	pifs_init();
	pifs_test();
    pifs_delete();
#endif
	  /* Infinite loop */
    UART_printf("Halting task\r\n");
	for(;;)
	{
	    osDelay(1);
	}
  /* USER CODE END 5 */
}

void HAL_TIM_PeriodElapsedCallback(TIM_HandleTypeDef *htim)
{
  if (htim->Instance == TIM2) {
    HAL_IncTick();
  }
}

void _Error_Handler(char *file, int line)
{
  /* USER CODE BEGIN Error_Handler_Debug */
    _print("\r\nFatal error in file ");
    _print(file);
    _print("at line 0x");
    _printHex32(line);
    _print("\r\n");
    /* User can add his own implementation to report the HAL error return state */
    while(1)
    {
    }
  /* USER CODE END Error_Handler_Debug */
}

/************************ (C) COPYRIGHT STMicroelectronics *****END OF FILE****/

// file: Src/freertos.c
/* USER CODE BEGIN Header */
/**
  ******************************************************************************
  * File Name          : freertos.c
  * Description        : Code for freertos applications
  ******************************************************************************
  * This notice applies to any and all portions of this file
  * that are not between comment pairs USER CODE BEGIN and
  * USER CODE END. Other portions of this file, whether
  * inserted by the user or by software development tools
  * are owned by their respective copyright owners.
  *
  * Copyright (c) 2018 STMicroelectronics International N.V.
  * All rights reserved.
  *
  * Redistribution and use in source and binary forms, with or without
  * modification, are permitted, provided that the following conditions are met:
  *
  * 1. Redistribution of source code must retain the above copyright notice,
  *    this list of conditions and the following disclaimer.
  * 2. Redistributions in binary form must reproduce the above copyright notice,
  *    this list of conditions and the following disclaimer in the documentation
  *    and/or other materials provided with the distribution.
  * 3. Neither the name of STMicroelectronics nor the names of other
  *    contributors to this software may be used to endorse or promote products
  *    derived from this software without specific written permission.
  * 4. This software, including modifications and/or derivative works of this
  *    software, must execute solely and exclusively on microcontroller or
  *    microprocessor devices manufactured by or for STMicroelectronics.
  * 5. Redistribution and use of this software other than as permitted under
  *    this license is void and will automatically terminate your rights under
  *    this license.
  *
  * THIS SOFTWARE IS PROVIDED BY STMICROELECTRONICS AND CONTRIBUTORS "AS IS"
  * AND ANY EXPRESS, IMPLIED OR STATUTORY WARRANTIES, INCLUDING, BUT NOT
  * LIMITED TO, THE IMPLIED WARRANTIES OF MERCHANTABILITY, FITNESS FOR A
  * PARTICULAR PURPOSE AND NON-INFRINGEMENT OF THIRD PARTY INTELLECTUAL PROPERTY
  * RIGHTS ARE DISCLAIMED TO THE FULLEST EXTENT PERMITTED BY LAW. IN NO EVENT
  * SHALL STMICROELECTRONICS OR CONTRIBUTORS BE LIABLE FOR ANY DIRECT, INDIRECT,
  * INCIDENTAL, SPECIAL, EXEMPLARY, OR CONSEQUENTIAL DAMAGES (INCLUDING, BUT NOT
  * LIMITED TO, PROCUREMENT OF SUBSTITUTE GOODS OR SERVICES; LOSS OF USE, DATA,
  * OR PROFITS; OR BUSINESS INTERRUPTION) HOWEVER CAUSED AND ON ANY THEORY OF
  * LIABILITY, WHETHER IN CONTRACT, STRICT LIABILITY, OR TORT (INCLUDING
  * NEGLIGENCE OR OTHERWISE) ARISING IN ANY WAY OUT OF THE USE OF THIS SOFTWARE,
  * EVEN IF ADVISED OF THE POSSIBILITY OF SUCH DAMAGE.
  *
  ******************************************************************************
  */
/* USER CODE END Header */

#include "FreeRTOS.h"
#include "task.h"
#include "main.h"

/* Hook prototypes */
void vApplicationStackOverflowHook(xTaskHandle xTask, signed char *pcTaskName);
void vApplicationMallocFailedHook(void);

/* USER CODE BEGIN 4 */
__weak void vApplicationStackOverflowHook(xTaskHandle xTask, signed char *pcTaskName)
{
   /* Run time stack overflow checking is performed if
   configCHECK_FOR_STACK_OVERFLOW is defined to 1 or 2. This hook function is
   called if a stack overflow is detected. */
}
/* USER CODE END 4 */

/* USER CODE BEGIN 5 */
__weak void vApplicationMallocFailedHook(void)
{
   /* vApplicationMallocFailedHook() will only be called if
   configUSE_MALLOC_FAILED_HOOK is set to 1 in FreeRTOSConfig.h. It is a hook
   function that will get called if a call to pvPortMalloc() fails.
   pvPortMalloc() is called internally by the kernel whenever a task, queue,
   timer or semaphore is created. It is also called by various parts of the
   demo application. If heap_1.c or heap_2.c are used, then the size of the
   heap available to pvPortMalloc() is defined by configTOTAL_HEAP_SIZE in
   FreeRTOSConfig.h, and the xPortGetFreeHeapSize() API function can be used
   to query the size of free heap space that remains (although it does not
   provide information on how the remaining heap might be fragmented). */
}
/* USER CODE END 5 */

/************************ (C) COPYRIGHT STMicroelectronics *****END OF FILE****/
